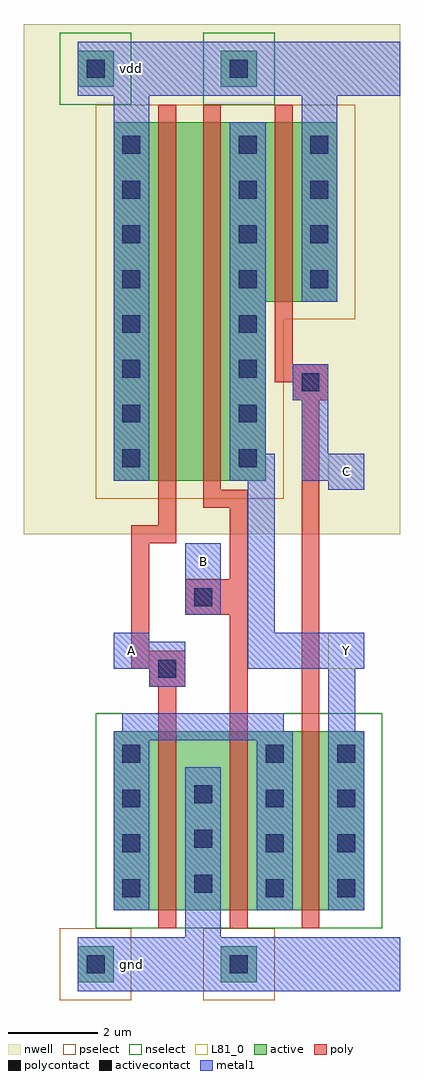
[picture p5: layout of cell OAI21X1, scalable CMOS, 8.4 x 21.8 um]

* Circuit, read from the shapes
.subckt OAI21X1 A B C Y gnd vdd
M1 gnd A n1 gnd nfet w=4u l=0.4u
M2 n1 B gnd gnd nfet w=4u l=0.4u
M3 Y C n1 gnd nfet w=4u l=0.4u
M4 n2 A vdd vdd pfet w=8u l=0.4u
M5 Y B n2 vdd pfet w=8u l=0.4u
M6 vdd C Y vdd pfet w=4u l=0.4u
.ends

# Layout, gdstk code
import gdstk
lib = gdstk.Library(unit=1e-6, precision=1e-09)
def R(c, l, rs):  # rectangles x0, y0, x1, y1
    for r in rs: c.add(gdstk.rectangle(r[:2], r[2:], *l))
def A(c, l, x, y, w, h, nx, ny, dx, dy):  # array of equal rectangles
    R(c, l, [(x+i*dx, y+j*dy, x+i*dx+w, y+j*dy+h) for i in range(nx) for j in range(ny)])
nwell = (42, 0)
active = (43, 0)
pselect = (44, 0)
nselect = (45, 0)
poly = (46, 0)
polycontact = (47, 0)
activecontact = (48, 0)
metal1 = (49, 0)
L81_0 = (81, 0)

oai21x1 = lib.new_cell('OAI21X1')
R(oai21x1, nwell, [(-1.6,9.6,6.8,21)])
R(oai21x1, active, [(-0.4,-0.4,0.4,0.4), (2.8,-0.4,3.6,0.4), (0.4,1.2,6,5.2), (0.4,10.8,3.8,14.8), (0.4,14.8,5.4,18.8), (-0.4,19.6,0.4,20.4), (2.8,19.6,3.6,20.4)])
R(oai21x1, pselect, [(-0.8,-0.8,0.8,0.8), (2.4,-0.8,4,0.8), (0,10.4,4.2,14.4), (0,14.4,5.8,19.2)])
R(oai21x1, nselect, [(0,0.8,6.4,5.6), (-0.8,19.2,0.8,20.8), (2.4,19.2,4,20.8)])
R(oai21x1, poly, [(1.4,0.8,1.8,6.2), (3,0.8,3.4,7.8), (4.6,0.8,5,12.6), (1.2,6.2,2,6.6), (0.8,6.6,2,7), (0.8,7,1.2,9.4), (2,7.8,3.4,8.6), (3,8.6,3.4,10.2), (0.8,9.4,1.8,9.8), (1.4,9.8,1.8,19.2), (2.4,10.2,3.4,10.6), (2.4,10.6,2.8,19.2), (4.4,12.6,5.2,13), (4,13,5.2,13.4), (4,13.4,4.4,19.2)])
R(oai21x1, polycontact, [(1.4,6.4,1.8,6.8), (2.2,8,2.6,8.4), (4.6,12.8,5,13.2)])
A(oai21x1, activecontact, 0.6, 1.5, 0.4, 0.4, 1, 4, 0, 1)
A(oai21x1, activecontact, 3.8, 1.5, 0.4, 0.4, 1, 4, 0, 1)
A(oai21x1, activecontact, 5.4, 1.5, 0.4, 0.4, 1, 4, 0, 1)
A(oai21x1, activecontact, 2.2, 1.6, 0.4, 0.4, 1, 3, 0, 1)
A(oai21x1, activecontact, 0.6, 11.1, 0.4, 0.4, 1, 8, 0, 1)
A(oai21x1, activecontact, 3.2, 11.1, 0.4, 0.4, 1, 8, 0, 1)
A(oai21x1, activecontact, 4.8, 15.1, 0.4, 0.4, 1, 4, 0, 1)
R(oai21x1, activecontact, [(-0.2,-0.2,0.2,0.2), (3,-0.2,3.4,0.2), (-0.2,19.8,0.2,20.2), (3,19.8,3.4,20.2)])
R(oai21x1, metal1, [(-0.4,-0.6,6.8,0.6), (2,0.6,2.8,4.4), (0.4,1.2,1.2,5), (3.6,1.2,4.4,5), (5.2,1.2,6,5.2), (0.4,5,4.4,5.2), (0.6,5.2,4.2,5.6), (5.2,5.2,5.8,6.6), (1.2,6.2,2,6.6), (0.4,6.6,2,7.2), (3.4,6.6,6,7.4), (0.4,7.2,1.2,7.4), (3.4,7.4,4,10.8), (2,7.8,2.8,9.4), (5.2,10.6,6,10.8), (0.4,10.8,1.2,19.4), (3,10.8,4,11.4), (4.6,10.8,6,11.4), (3,11.4,3.8,18.8), (4.6,11.4,5.2,12.6), (4.4,12.6,5.2,13.4), (4.6,14.8,5.4,19.4), (-0.4,19.4,6.8,20.6)])
R(oai21x1, L81_0, [(0.4,6.6,1.2,7.4), (5.2,6.6,6,7.4), (2,8.6,2.8,9.4), (5.2,10.6,6,11.4)])
oai21x1.add(gdstk.Label('gnd', (0.8,0), layer=109, texttype=0))
oai21x1.add(gdstk.Label('vdd', (0.8,20), layer=109, texttype=0))
oai21x1.add(gdstk.Label('A', (0.8,7), layer=109, texttype=0))
oai21x1.add(gdstk.Label('B', (2.4,9), layer=109, texttype=0))
oai21x1.add(gdstk.Label('Y', (5.6,7), layer=109, texttype=0))
oai21x1.add(gdstk.Label('C', (5.6,11), layer=109, texttype=0))

lib.write_gds('OAI21X1.gds')
